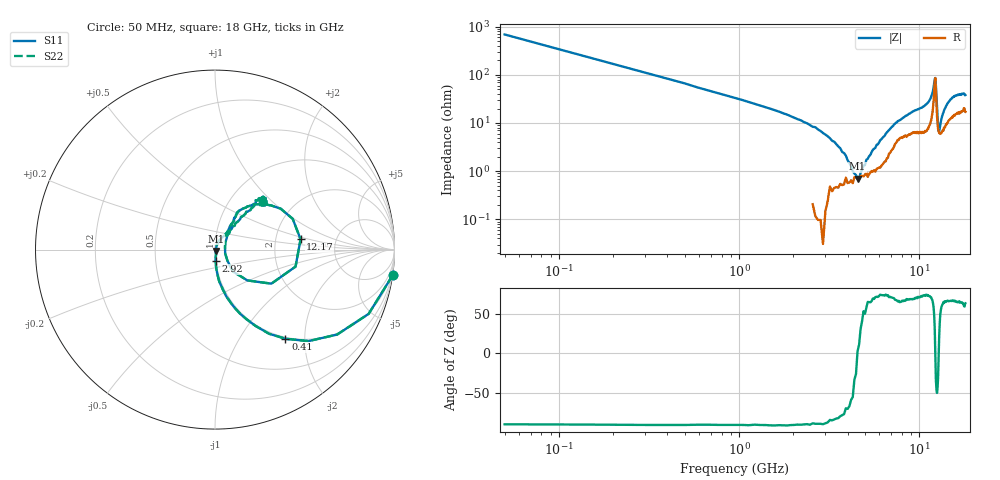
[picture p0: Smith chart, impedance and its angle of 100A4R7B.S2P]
!  American Technical Ceramics  Date:  3/13/98
!  One Norden Lane
!  Huntington Station,  NY.  11746-2102
!  Tel:  (516) 547-5700  Fax:  (516) 547-5748
!  Part Number  100A4R7B
!  Description: Porcelain, High Q, Low ESR
!  Application: Bypass, Coupling, Timing, Feedback
!  Tuning, Impedance Match, Blocking
# GHZ S DB R 50
! Freq  |S11|  S11 Ph  |S21|  S21 Ph  |S12|  S12 Ph  |S22|  S22 Ph
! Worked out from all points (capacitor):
!   201 points, 50 MHz to 18 GHz, reference 50 ohm
!   read as one part in series: C = 4.71 pF near 140 MHz
!   lowest |Z| = 695 mohm at 4.54 GHz (marker M1)
!   series resonance near 4.532 GHz, so ESL is about 260 pH
!   S11 on the Smith chart (normalised r, x): 50 MHz: 0, -14; 410 MHz: 0.97, -1.61; 2.92 GHz: 1.00, -0.13; 12.17 GHz: 2.78, +0.42; 18 GHz: 1.40, +0.86
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0.05  0.00 -8.3  -16.77 81.5  -16.77 81.5  0.00 -8.3
0.14  -0.65 -22.7  -8.33 67.4  -8.33 67.4  -0.65 -22.7
0.41  -3.97 -51.7  -2.18 39.2  -2.18 39.2  -3.97 -51.7
1.13  -11.49 -76.6  -0.32 15.2  -0.32 15.2  -11.49 -76.6
2.92  -24.09 -87.3  -0.03 3.5  -0.03 3.5  -24.09 -87.3
3.1  -25.61 -86.5  -0.05 3.0  -0.05 3.0  -25.61 -86.5
3.91  -32.10 -75.9  -0.08 0.8  -0.08 0.8  -32.10 -75.9
4.54  -40.71 -60.1  -0.08 -0.5  -0.08 -0.5  -40.71 -60.1
4.99  -45.16 9.8  -0.10 -1.1  -0.10 -1.1  -45.16 9.8
6.06  -30.70 66.6  -0.12 -3.2  -0.12 -3.2  -30.70 66.6
7.41  -20.47 55.5  -0.28 -5.6  -0.28 -5.6  -20.47 55.5
9.03  -14.97 56.9  -0.42 -7.2  -0.42 -7.2  -14.97 56.9
11.27  -11.05 55.2  -0.65 -12.4  -0.65 -12.4  -11.05 55.2
12.08  -6.64 21.6  -3.10 -22.1  -3.10 -22.1  -6.64 21.6
12.17  -6.37 6.9  -4.57 -18.9  -4.57 -18.9  -6.37 6.9
12.35  -8.71 -31.1  -4.23 9.0  -4.23 9.0  -8.71 -31.1
12.44  -12.07 -43.6  -2.62 10.9  -2.62 10.9  -12.07 -43.6
12.7  -24.34 -21.0  -0.76 3.3  -0.76 3.3  -24.34 -21.0
12.79  -24.79 14.3  -0.64 1.3  -0.64 1.3  -24.79 14.3
13.51  -15.20 50.5  -0.42 -6.3  -0.42 -6.3  -15.20 50.5
15.04  -9.62 49.5  -0.89 -11.9  -0.89 -11.9  -9.62 49.5
18  -8.60 45.4  -1.24 -13.5  -1.24 -13.5  -8.60 45.4
